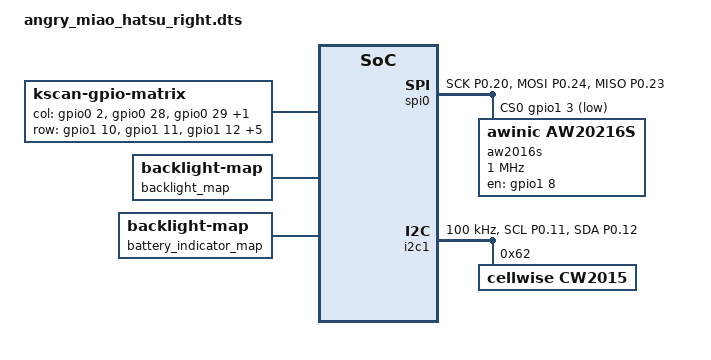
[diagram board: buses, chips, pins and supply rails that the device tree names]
#include "angry_miao_hatsu.dtsi"

#define RED 00
#define GREEN 01
#define BLUE 02

/{
    chosen {
        zmk,backlight = &aw2016s;
        zmk,backlight-map = &backlight_map;
        zmk,battery-indicator-map = &battery_indicator_map;
        zmk,battery = &cw2015;
        zmk,battery-indicator = &aw2016s;
    };

    kscan0: kscan {
        compatible = "zmk,kscan-gpio-matrix";
        label = "KSCAN";
        diode-direction = "row2col";
        col-gpios
            = <&gpio0 2 (GPIO_ACTIVE_HIGH | GPIO_PULL_DOWN)>
            , <&gpio0 28 (GPIO_ACTIVE_HIGH | GPIO_PULL_DOWN)>
            , <&gpio0 29 (GPIO_ACTIVE_HIGH | GPIO_PULL_DOWN)>
            , <&gpio0 3 (GPIO_ACTIVE_HIGH | GPIO_PULL_DOWN)>;
        
        row-gpios
            = <&gpio1 10 (GPIO_ACTIVE_HIGH | GPIO_PULL_DOWN)>
            , <&gpio1 11 (GPIO_ACTIVE_HIGH | GPIO_PULL_DOWN)>
            , <&gpio1 12 (GPIO_ACTIVE_HIGH | GPIO_PULL_DOWN)>
            , <&gpio1 13 (GPIO_ACTIVE_HIGH | GPIO_PULL_DOWN)>
            , <&gpio1 14 (GPIO_ACTIVE_HIGH | GPIO_PULL_DOWN)>
            , <&gpio1 15 (GPIO_ACTIVE_HIGH | GPIO_PULL_DOWN)>
            , <&gpio0 31 (GPIO_ACTIVE_HIGH | GPIO_PULL_DOWN)>
            , <&gpio0 30 (GPIO_ACTIVE_HIGH | GPIO_PULL_DOWN)>;
    };

    backlight_map: backlight_map {
        compatible = "zmk,backlight-map";
        led-channels 
            = <&backlight_led_0>
            , <&backlight_led_1>
            , <&backlight_led_2>
            , <&backlight_led_3>
            , <&backlight_led_4>
            , <&backlight_led_5>
            , <&backlight_led_6>
            , <&backlight_led_7>
            , <&backlight_led_8>
            , <&backlight_led_9>
            , <&backlight_led_10>
            , <&backlight_led_11>
            , <&backlight_led_12>
            , <&backlight_led_13>
            , <&backlight_led_14>
            , <&backlight_led_15>
            , <&backlight_led_16>
            , <&backlight_led_17>
            , <&backlight_led_18>
            , <&backlight_led_19>
            , <&backlight_led_20>
            , <&backlight_led_21>
            , <&backlight_led_22>
            , <&backlight_led_23>
            , <&backlight_led_24>
            , <&backlight_led_25>;

    };

    battery_indicator_map: battery_indicator_map {
        compatible = "zmk,backlight-map";
        led-channels 
            = <&rgb_led0_r>
            , <&rgb_led0_g>
            , <&rgb_led0_b>
            , <&rgb_led1_r>
            , <&rgb_led1_g>
            , <&rgb_led1_b>
            , <&rgb_led2_r>
            , <&rgb_led2_g>
            , <&rgb_led2_b>
            , <&rgb_led3_r>
            , <&rgb_led3_g>
            , <&rgb_led3_b>;
        colors = [ RED GREEN BLUE RED GREEN BLUE RED GREEN BLUE RED GREEN BLUE ];
    };
};

&layout_grid_transform {
    col-offset = < 4 >;
    row-offset = < 8 >;
};

&pinctrl {
    spi0_default: spi0_default {
		group1 {
			psels = <NRF_PSEL(SPIM_SCK, 0, 20)>,
				<NRF_PSEL(SPIM_MOSI, 0, 24)>,
				<NRF_PSEL(SPIM_MISO, 0, 23)>;
		};
	};

	spi0_sleep: spi0_sleep {
		group1 {
			psels = <NRF_PSEL(SPIM_SCK, 0, 20)>,
				<NRF_PSEL(SPIM_MOSI, 0, 24)>,
				<NRF_PSEL(SPIM_MISO, 0, 23)>;
			low-power-enable;
		};
	};
    i2c1_default: i2c1_default {
        group1 {
            psels = <NRF_PSEL(TWIM_SCL, 0, 11)>,
                <NRF_PSEL(TWIM_SDA, 0, 12)>;
        };
    };

    i2c1_sleep: i2c1_sleep {
        group1 {
            psels = <NRF_PSEL(TWIM_SCL, 0, 11)>,
                <NRF_PSEL(TWIM_SDA, 0, 12)>;
            low-power-enable;
        };
    };
};

&spi0 {
	compatible = "nordic,nrf-spi";
	status = "okay";
	pinctrl-0 = <&spi0_default>;
	pinctrl-1 = <&spi0_sleep>;
	pinctrl-names = "default", "sleep";

    cs-gpios = <&gpio1 3 GPIO_ACTIVE_LOW>;
    aw2016s: aw20216s@0 {
        compatible = "awinic,aw20216s";
        reg = <0>;
        en-gpios = <&gpio1 8 (GPIO_ACTIVE_HIGH | GPIO_PULL_UP)>;
        spi-max-frequency = <1000000>;

        rgb_led0_r: rgb_led0_r {
            #led-channel-cells = <0>;
            index = <17>;
        };
        rgb_led0_g: rgb_led0_g {
            #led-channel-cells = <0>;
            index = <16>;
        };
        rgb_led0_b: rgb_led0_b {
            #led-channel-cells = <0>;
            index = <15>;
        };
        rgb_led1_r: rgb_led1_r {
            #led-channel-cells = <0>;
            index = <125>;
        };
        rgb_led1_g: rgb_led1_g {
            #led-channel-cells = <0>;
            index = <124>;
        };
        rgb_led1_b: rgb_led1_b {
            #led-channel-cells = <0>;
            index = <123>;
        };
        rgb_led2_r: rgb_led2_r {
            #led-channel-cells = <0>;
            index = <161>;
        };
        rgb_led2_g: rgb_led2_g {
            #led-channel-cells = <0>;
            index = <160>;
        };
        rgb_led2_b: rgb_led2_b {
            #led-channel-cells = <0>;
            index = <159>;
        };
        rgb_led3_r: rgb_led3_r {
            #led-channel-cells = <0>;
            index = <197>;
        };
        rgb_led3_g: rgb_led3_g {
            #led-channel-cells = <0>;
            index = <196>;
        };
        rgb_led3_b: rgb_led3_b {
            #led-channel-cells = <0>;
            index = <195>;
        };

        backlight_led_0: backlight_led_0 {
            #led-channel-cells = <0>;
            index = <36>;
        };
        backlight_led_1: backlight_led_1 {
            #led-channel-cells = <0>;
            index = <37>;
        };
        backlight_led_2: backlight_led_2 {
            #led-channel-cells = <0>;
            index = <38>;
        };
        backlight_led_3: backlight_led_3 {
            #led-channel-cells = <0>;
            index = <39>;
        };
        backlight_led_4: backlight_led_4 {
            #led-channel-cells = <0>;
            index = <40>;
        };
        backlight_led_5: backlight_led_5 {
            #led-channel-cells = <0>;
            index = <41>;
        };
        backlight_led_6: backlight_led_6 {
            #led-channel-cells = <0>;
            index = <42>;
        };
        backlight_led_7: backlight_led_7 {
            #led-channel-cells = <0>;
            index = <46>;
        };
        backlight_led_8: backlight_led_8 {
            #led-channel-cells = <0>;
            index = <54>;
        };
        backlight_led_9: backlight_led_9 {
            #led-channel-cells = <0>;
            index = <55>;
        };
        backlight_led_10: backlight_led_10 {
            #led-channel-cells = <0>;
            index = <56>;
        };
        backlight_led_11: backlight_led_11 {
            #led-channel-cells = <0>;
            index = <57>;
        };
        backlight_led_12: backlight_led_12 {
            #led-channel-cells = <0>;
            index = <58>;
        };
        backlight_led_13: backlight_led_13 {
            #led-channel-cells = <0>;
            index = <59>;
        };
        backlight_led_14: backlight_led_14 {
            #led-channel-cells = <0>;
            index = <60>;
        };
        backlight_led_15: backlight_led_15 {
            #led-channel-cells = <0>;
            index = <64>;
        };
        backlight_led_16: backlight_led_16 {
            #led-channel-cells = <0>;
            index = <72>;
        };
        backlight_led_17: backlight_led_17 {
            #led-channel-cells = <0>;
            index = <73>;
        };
        backlight_led_18: backlight_led_18 {
            #led-channel-cells = <0>;
            index = <74>;
        };
        backlight_led_19: backlight_led_19 {
            #led-channel-cells = <0>;
            index = <75>;
        };
        backlight_led_20: backlight_led_20 {
            #led-channel-cells = <0>;
            index = <76>;
        };
        backlight_led_21: backlight_led_21 {
            #led-channel-cells = <0>;
            index = <77>;
        };
        backlight_led_22: backlight_led_22 {
            #led-channel-cells = <0>;
            index = <78>;
        };
        backlight_led_23: backlight_led_23 {
            #led-channel-cells = <0>;
            index = <82>;
        };
        backlight_led_24: backlight_led_24 {
            #led-channel-cells = <0>;
            index = <92>;
        };
        backlight_led_25: backlight_led_25 {
            #led-channel-cells = <0>;
            index = <93>;
        };
    };
};

&i2c1 {
    status = "okay";
    compatible = "nordic,nrf-twim";
	pinctrl-0 = <&i2c1_default>;
	pinctrl-1 = <&i2c1_sleep>;
	pinctrl-names = "default", "sleep";

    clock-frequency = <I2C_BITRATE_STANDARD>;

    cw2015: cw2015@62 {
        compatible = "cellwise,cw2015";
        reg = <0x62>;
    };
};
